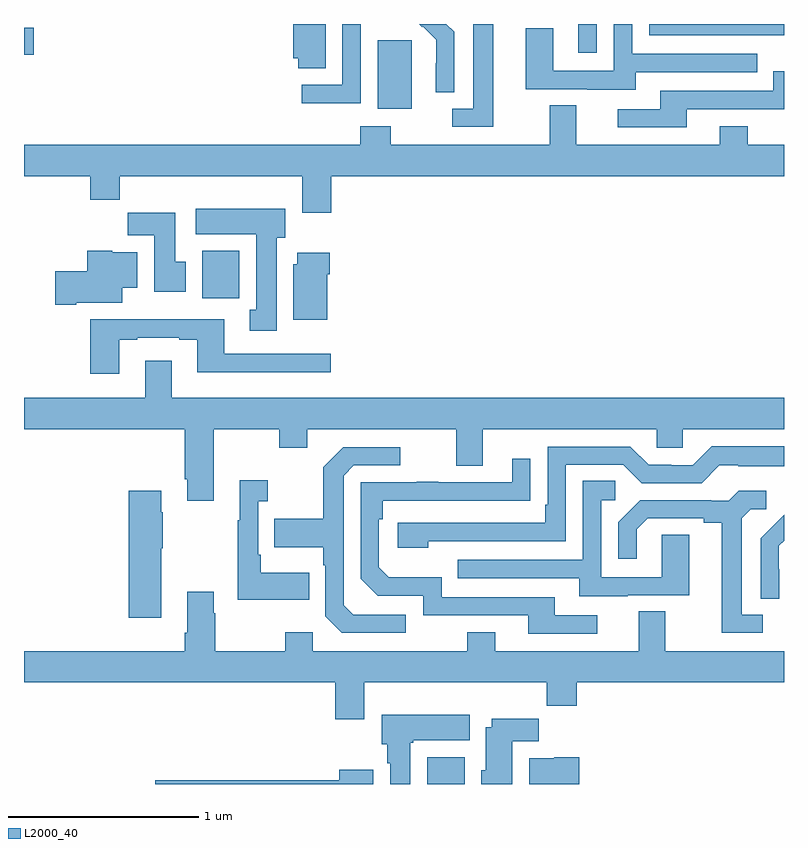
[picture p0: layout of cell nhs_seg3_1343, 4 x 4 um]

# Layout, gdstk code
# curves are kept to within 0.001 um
import gdstk
lib = gdstk.Library(unit=1e-6, precision=1e-09)
def R(c, l, rs):  # rectangles x0, y0, x1, y1
    for r in rs: c.add(gdstk.rectangle(r[:2], r[2:], *l))
def P(c, l, *ps):  # polygons
    for p in ps: c.add(gdstk.Polygon(p, *l))
L2000_40 = (2000, 40)

nhs_seg3_1343 = lib.new_cell('nhs_seg3_1343')
R(nhs_seg3_1343, L2000_40, [(183.122,680.4,183.319,680.542), (181.937,682.956,182.133,683.206), (182.861,683.954,183.04,684.315), (181,684.238,181.051,684.38), (183.917,684.249,184.014,684.4), (184.29,684.342,185,684.4)])
P(nhs_seg3_1343, L2000_40, [(184.219,684.147),(184.859,684.147),(184.859,684.243),(184.2,684.243),(184.2,684.4),(184.104,684.4),(184.104,684.153),(183.786,684.153),(183.786,684.377),(183.641,684.377),(183.641,684.057),(183.965,684.057),(183.965,684.053),(184.219,684.053)],
  [(182.587,684.4),(182.417,684.4),(182.417,684.219),(182.444,684.219),(182.444,684.166),(182.587,684.166)],
  [(182.772,684.4),(182.676,684.4),(182.676,684.081),(182.463,684.081),(182.463,683.983),(182.772,683.983)],
  [(183.264,684.358),(183.222,684.4),(183.08,684.4),(183.096,684.384),(183.099,684.387),(183.17,684.317),(183.17,684.194),(183.168,684.194),(183.168,684.04),(183.264,684.04)],
  [(183.469,684.4),(183.365,684.4),(183.365,683.955),(183.255,683.955),(183.255,683.859),(183.469,683.859)],
  [(184.489,683.952),(185,683.952),(185,684.151),(184.944,684.151),(184.944,684.048),(184.349,684.048),(184.349,683.952),(184.125,683.952),(184.125,683.856),(184.489,683.856)],
  [(182.618,683.6),(185,683.6),(185,683.764),(184.809,683.764),(184.809,683.863),(184.661,683.863),(184.661,683.764),(183.907,683.764),(183.907,683.972),(183.767,683.972),(183.767,683.764),(182.931,683.764),(182.931,683.863),(182.771,683.863),(182.771,683.764),(181,683.764),(181,683.6),(181.349,683.6),(181.349,683.476),(181.505,683.476),(181.505,683.6),(182.465,683.6),(182.465,683.406),(182.618,683.406)],
  [(182.329,683.274),(182.374,683.274),(182.374,683.428),(181.905,683.428),(181.905,683.294),(182.222,683.294),(182.222,682.897),(182.189,682.897),(182.189,682.785),(182.329,682.785)],
  [(181.852,683.148),(181.795,683.148),(181.795,683.407),(181.546,683.407),(181.546,683.288),(181.685,683.288),(181.685,682.992),(181.852,682.992)],
  [(181.276,682.934),(181.516,682.934),(181.516,683.012),(181.597,683.012),(181.597,683.2),(181.464,683.2),(181.464,683.206),(181.334,683.206),(181.334,683.1),(181.164,683.1),(181.164,682.922),(181.276,682.922)],
  [(182.596,683.084),(182.609,683.084),(182.609,683.197),(182.438,683.197),(182.438,683.136),(182.417,683.136),(182.417,682.844),(182.596,682.844)],
  [(181.501,682.737),(181.597,682.737),(181.597,682.749),(181.817,682.749),(181.817,682.737),(181.913,682.737),(181.913,682.568),(182.614,682.568),(182.614,682.665),(182.053,682.665),(182.053,682.846),(181.349,682.846),(181.349,682.56),(181.501,682.56)],
  [(181.999,682.268),(182.344,682.268),(182.344,682.169),(182.491,682.169),(182.491,682.268),(183.275,682.268),(183.275,682.074),(183.415,682.074),(183.415,682.268),(184.329,682.268),(184.329,682.17),(184.467,682.17),(184.467,682.268),(185,682.268),(185,682.432),(181.777,682.432),(181.777,682.627),(181.637,682.627),(181.637,682.432),(181,682.432),(181,682.268),(181.847,682.268),(181.847,682.003),(181.859,682.003),(181.859,681.891),(181.999,681.891)],
  [(183.128,681.678),(183.852,681.678),(183.852,682.08),(184.155,682.08),(184.251,681.984),(184.566,681.984),(184.659,682.077),(184.759,682.077),(184.759,682.073),(185,682.073),(185,682.177),(184.621,682.177),(184.521,682.077),(184.406,682.077),(184.406,682.08),(184.287,682.08),(184.191,682.176),(183.756,682.176),(183.756,681.871),(183.743,681.871),(183.743,681.774),(182.967,681.774),(182.967,681.644),(183.128,681.644)],
  [(183.01,681.291),(182.733,681.291),(182.682,681.342),(182.682,682.023),(182.736,682.077),(182.98,682.077),(182.98,682.173),(182.679,682.173),(182.574,682.067),(182.574,681.795),(182.317,681.795),(182.317,681.647),(182.574,681.647),(182.574,681.551),(182.586,681.551),(182.586,681.282),(182.673,681.195),(183.01,681.195)],
  [(184.018,681.288),(183.793,681.288),(183.793,681.384),(183.198,681.384),(183.198,681.487),(182.921,681.487),(182.868,681.54),(182.868,681.794),(182.888,681.794),(182.888,681.891),(183.665,681.892),(183.665,682.111),(183.569,682.111),(183.569,681.987),(183.179,681.987),(183.179,681.992),(183.067,681.992),(183.067,681.987),(182.772,681.987),(182.772,681.48),(182.862,681.39),(183.102,681.39),(183.102,681.288),(183.653,681.288),(183.653,681.192),(184.018,681.192)],
  [(182.501,681.511),(182.245,681.511),(182.245,681.607),(182.232,681.607),(182.232,681.887),(182.284,681.887),(182.284,682),(182.135,682),(182.135,681.787),(182.124,681.787),(182.124,681.371),(182.501,681.371)],
  [(184.177,681.393),(184.501,681.393),(184.501,681.713),(184.356,681.713),(184.356,681.489),(184.038,681.489),(184.038,681.894),(184.111,681.894),(184.111,681.995),(183.942,681.995),(183.942,681.579),(183.283,681.579),(183.283,681.483),(183.923,681.483),(183.923,681.389),(184.177,681.389)],
  [(184.888,681.291),(184.777,681.291),(184.777,681.799),(184.824,681.846),(184.906,681.846),(184.906,681.943),(184.762,681.943),(184.71,681.891),(184.616,681.891),(184.616,681.894),(184.244,681.894),(184.128,681.778),(184.128,681.585),(184.225,681.585),(184.225,681.741),(184.282,681.798),(184.577,681.798),(184.577,681.776),(184.673,681.776),(184.673,681.195),(184.888,681.195)],
  [(181.723,681.641),(181.731,681.641),(181.731,681.83),(181.723,681.83),(181.723,681.943),(181.55,681.943),(181.55,681.276),(181.723,681.276)],
  [(184.974,681.53),(184.973,681.53),(184.973,681.653),(185,681.68),(185,681.818),(184.95,681.768),(184.951,681.767),(184.878,681.694),(184.878,681.376),(184.974,681.376)],
  [(182.791,680.936),(183.751,680.936),(183.751,680.812),(183.908,680.812),(183.908,680.936),(185,680.936),(185,681.1),(184.375,681.1),(184.375,681.308),(184.235,681.308),(184.235,681.1),(183.481,681.1),(183.481,681.199),(183.334,681.199),(183.334,681.1),(182.52,681.1),(182.52,681.199),(182.374,681.199),(182.374,681.1),(182.007,681.1),(182.007,681.299),(181.999,681.299),(181.999,681.412),(181.859,681.412),(181.859,681.196),(181.847,681.196),(181.847,681.1),(181,681.1),(181,680.936),(182.639,680.936),(182.639,680.742),(182.791,680.742)],
  [(183.034,680.617),(183.048,680.617),(183.048,680.63),(183.346,680.63),(183.346,680.764),(182.882,680.764),(182.882,680.61),(182.912,680.61),(182.912,680.51),(182.927,680.51),(182.927,680.4),(183.034,680.4)],
  [(183.571,680.624),(183.71,680.624),(183.71,680.743),(183.461,680.743),(183.461,680.698),(183.431,680.698),(183.431,680.472),(183.407,680.472),(183.407,680.4),(183.571,680.4)],
  [(183.923,680.542),(183.792,680.542),(183.792,680.536),(183.659,680.536),(183.659,680.4),(183.923,680.4)],
  [(182.839,680.476),(182.66,680.476),(182.66,680.42),(181.691,680.42),(181.691,680.4),(182.839,680.4)])

lib.write_gds('nhs_seg3_1343.gds')
